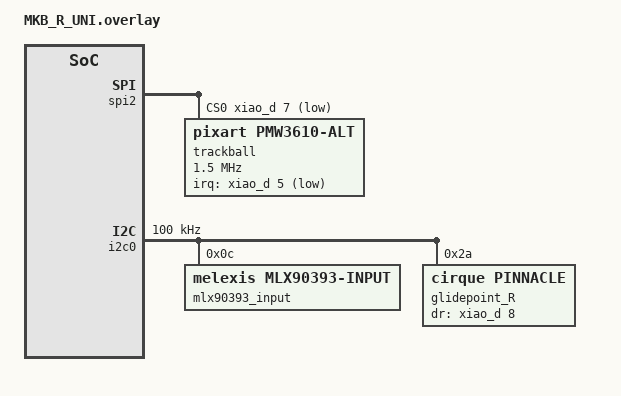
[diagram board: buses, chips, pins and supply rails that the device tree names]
#include <zephyr/dt-bindings/input/input-event-codes.h>
#include <input/processors.dtsi>
#include <dt-bindings/zmk/input_transform.h>
#include <dt-bindings/zmk/keys.h>
#include <dt-bindings/zmk/pointing.h>

&spi2 {
    status = "okay";
    cs-gpios =  <&xiao_d 7 GPIO_ACTIVE_LOW>;
    compatible = "nordic,nrf-spim";

    trackball: pd@0 {
        status = "okay";
        compatible = "pixart,pmw3610-alt";
        reg = <0>;
        spi-max-frequency = <1500000>;
        irq-gpios = <&xiao_d 5 (GPIO_ACTIVE_LOW | GPIO_PULL_UP)>;
        cpi = <800>;
        evt-type = <INPUT_EV_REL>;
        x-input-code = <INPUT_REL_X>;
        y-input-code = <INPUT_REL_Y>;
        force-awake;
    };
};

&i2c0 {
    status = "okay";
    compatible = "nordic,nrf-twi";
    clock-frequency = <100000>;

    mlx90393_input: mlx90393-input@0c {
        compatible = "melexis,mlx90393-input";
        reg = <0x0c>;

        polling-interval-ms = <10>;
        z-press-threshold = <200>;
        x-hysteresis = <50>;
        y-hysteresis = <50>;
        z-hysteresis = <50>;

        scale-x = <1>;
        scale-y = <1>;

        deadzone-x = <100>;
        deadzone-y = <100>;
        deadzone-z = <300>;
        report-threshold-x = <3>;
        report-threshold-y = <3>;
        disable-wheel;
    };

    glidepoint_R: glidepoint_R@2a {
        compatible = "cirque,pinnacle";
        reg = <0x2a>;
        status = "okay";
        dr-gpios = <&xiao_d 8 (GPIO_ACTIVE_HIGH)>;

        sensitivity = "2x";
        no-taps;
    };
};

/ {
    split_inputs {
        #address-cells = <1>;
        #size-cells = <0>;

        trackball_split: trackball_split@0 {
            compatible = "zmk,input-split";
            status = "okay";
            device = <&trackball>;
            reg = <0>;
        };

        magnet_split: magnet_split@1 {
            compatible = "zmk,input-split";
            status = "okay";
            device = <&mlx90393_input>;
            reg = <1>;
        };

        trackpad_split: trackpad_split@3 {
            compatible = "zmk,input-split";
            status = "okay";
            device = <&glidepoint_R>;
            reg = <3>;
        };
    };

    trackball_listener: trackball_listener {
        compatible = "zmk,input-listener";
        status = "okay";
        device = <&trackball_split>;
    };

    magnet_listener: magnet_listener {
        compatible = "zmk,input-listener";
        status = "okay";
        device = <&magnet_split>;
    };

    trackpad_listener: trackpad_listener {
        compatible = "zmk,input-listener";
        status = "okay";
        device = <&trackpad_split>;
    };
};
